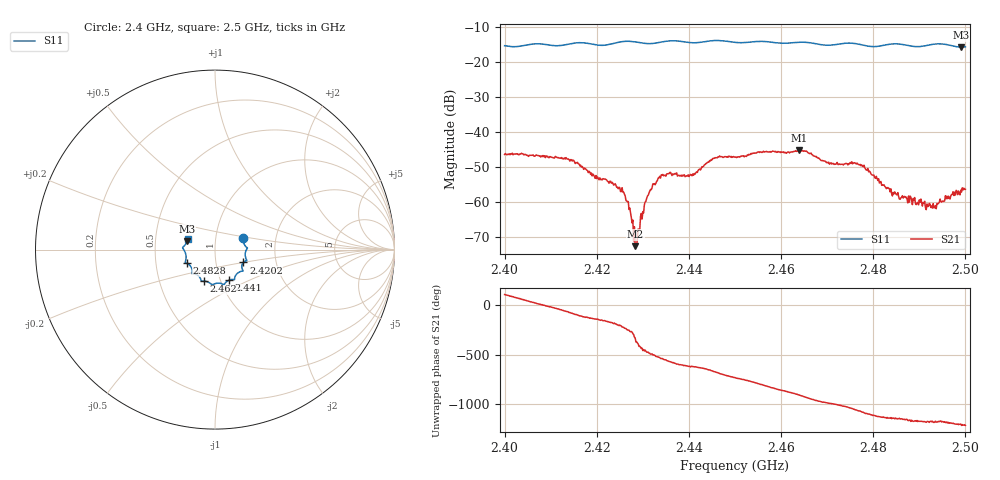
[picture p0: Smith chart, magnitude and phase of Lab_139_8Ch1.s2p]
# Hz S RI R 50
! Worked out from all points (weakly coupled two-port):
!   601 points, 2.4 GHz to 2.5 GHz, reference 50 ohm
!   highest |S21| = -45.23 dB at 2.4638 GHz (marker M1); lowest = -72.6 dB at 2.4283 GHz (marker M2)
!   lowest |S11| = -15.8 dB at 2.499 GHz (marker M3), VSWR 1.39, Z = 36.4 + j3.47 ohm
!   |S11| at or under -10 dB: start of sweep to end of sweep
!   S12 and S22 are empty: the file has one direction only
!   S11 on the Smith chart (normalised r, x): 2.4 GHz: 1.36, +0.17; 2.4202 GHz: 1.36, -0.20; 2.441 GHz: 1.10, -0.39; 2.462 GHz: 0.84, -0.30; 2.4828 GHz: 0.72, -0.11; 2.5 GHz: 0.73, +0.09
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2.4e9  0.1581 0.0623  -0.00169 0.00446  0 0  0 0
2.4135e9  0.1708 -0.0452  0.00194 -0.00367  0 0  0 0
2.416667e9  0.1774 -0.0608  -0.00105 -0.00298  0 0  0 0
2.420167e9  0.1583 -0.0713  -0.00171 -0.00152  0 0  0 0
2.425667e9  0.1554 -0.1167  -0.00105 0.0009  0 0  0 0
2.427e9  0.1561 -0.1194  -0.000246 0.000746  0 0  0 0
2.428333e9  0.1507 -0.1201  0.000207 0.000112  0 0  0 0
2.428833e9  0.147 -0.121  0.00029 -0.000123  0 0  0 0
2.430833e9  0.1283 -0.1295  -0.000491 -0.00102  0 0  0 0
2.433333e9  0.1115 -0.151  -0.00212 -0.000601  0 0  0 0
2.441e9  0.0782 -0.1698  -0.000243 0.00241  0 0  0 0
2.445333e9  0.0513 -0.1943  0.00282 0.00312  0 0  0 0
2.45e9  0.0282 -0.1875  0.00424 -0.00107  0 0  0 0
2.462e9  -0.0607 -0.1757  -0.005 -0.00125  0 0  0 0
2.463833e9  -0.0732 -0.1754  -0.0054 0.000915  0 0  0 0
2.466667e9  -0.0788 -0.1679  -0.00276 0.00389  0 0  0 0
2.4775e9  -0.1269 -0.1201  0.00338 -0.000158  0 0  0 0
2.482833e9  -0.1574 -0.0766  0.000633 -0.00142  0 0  0 0
2.483333e9  -0.1606 -0.0751  0.000648 -0.00143  0 0  0 0
2.493167e9  -0.1785 0.00583  -0.000293 -0.000774  0 0  0 0
2.499e9  -0.1554 0.0464  -0.000887 -0.00119  0 0  0 0
2.5e9  -0.152 0.0607  -0.00118 -0.000962  0 0  0 0
